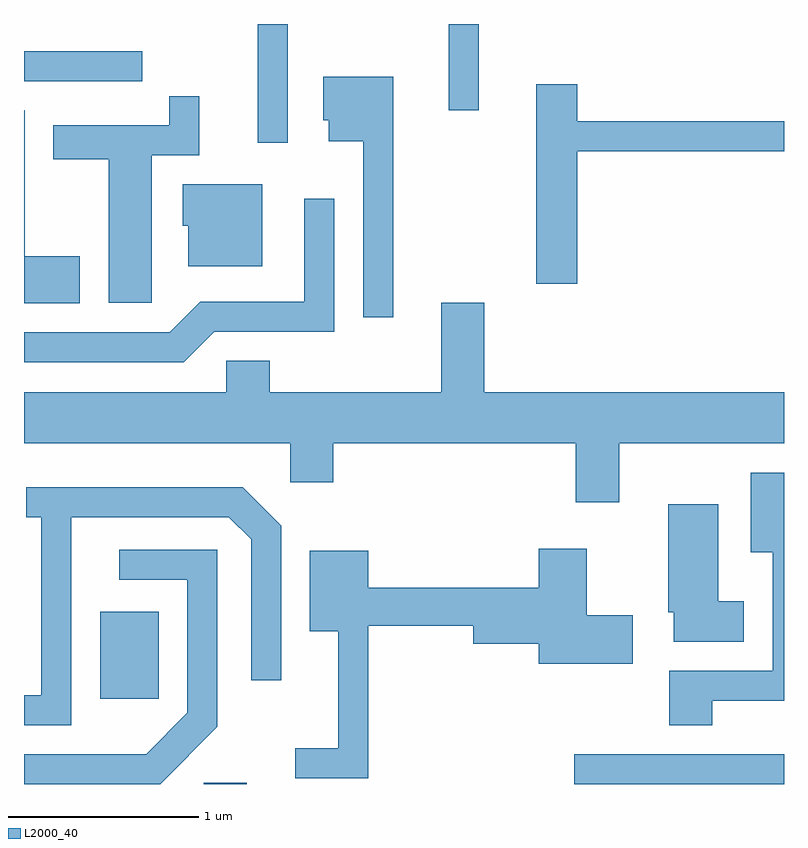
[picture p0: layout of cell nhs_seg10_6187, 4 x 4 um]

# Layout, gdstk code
import gdstk
lib = gdstk.Library(unit=1e-6, precision=1e-09)
def R(c, l, rs):  # rectangles x0, y0, x1, y1
    for r in rs: c.add(gdstk.rectangle(r[:2], r[2:], *l))
def P(c, l, *ps):  # polygons
    for p in ps: c.add(gdstk.Polygon(p, *l))
L2000_40 = (2000, 40)

nhs_seg10_6187 = lib.new_cell('nhs_seg10_6187')
R(nhs_seg10_6187, L2000_40, [(368.556,2156.522,368.784,2156.529), (370.508,2156.522,371.611,2156.679), (368.011,2156.971,368.319,2157.429), (368.841,2159.898,368.999,2160.522), (369.846,2160.068,370.004,2160.522), (367.611,2160.221,368.233,2160.379)])
P(nhs_seg10_6187, L2000_40, [(369.554,2160.244),(369.186,2160.244),(369.186,2160.016),(369.216,2160.016),(369.216,2159.906),(369.396,2159.906),(369.396,2158.978),(369.554,2158.978)],
  [(370.524,2159.851),(371.611,2159.851),(371.611,2160.009),(370.524,2160.009),(370.524,2160.204),(370.306,2160.204),(370.306,2159.156),(370.524,2159.156)],
  [(368.284,2159.831),(368.534,2159.831),(368.534,2160.143),(368.376,2160.143),(368.376,2159.989),(367.766,2159.989),(367.766,2159.811),(368.056,2159.811),(368.056,2159.056),(368.284,2159.056)],
  [(367.904,2159.299),(367.614,2159.299),(367.614,2160.069),(367.611,2160.069),(367.611,2159.051),(367.904,2159.051)],
  [(368.864,2159.679),(368.446,2159.679),(368.446,2159.461),(368.476,2159.461),(368.476,2159.246),(368.864,2159.246)],
  [(368.612,2158.901),(369.244,2158.901),(369.244,2159.603),(369.086,2159.603),(369.086,2159.059),(368.539,2159.059),(368.379,2158.899),(367.611,2158.899),(367.611,2158.741),(368.452,2158.741)],
  [(370.744,2158.316),(371.611,2158.316),(371.611,2158.584),(370.034,2158.584),(370.034,2159.054),(369.806,2159.054),(369.806,2158.584),(368.904,2158.584),(368.904,2158.749),(368.676,2158.749),(368.676,2158.584),(367.611,2158.584),(367.611,2158.316),(369.011,2158.316),(369.011,2158.111),(369.239,2158.111),(369.239,2158.316),(370.516,2158.316),(370.516,2158.006),(370.744,2158.006)],
  [(371.234,2156.961),(371.611,2156.961),(371.611,2158.159),(371.436,2158.159),(371.436,2157.741),(371.551,2157.741),(371.551,2157.119),(371.006,2157.119),(371.006,2156.831),(371.234,2156.831)],
  [(367.859,2157.926),(368.689,2157.926),(368.806,2157.809),(368.806,2157.068),(368.964,2157.068),(368.964,2157.882),(368.762,2158.084),(367.623,2158.084),(367.623,2157.926),(367.701,2157.926),(367.701,2156.989),(367.611,2156.989),(367.611,2156.831),(367.859,2156.831)],
  [(371.399,2157.484),(371.264,2157.484),(371.264,2157.994),(371.001,2157.994),(371.001,2157.426),(371.031,2157.426),(371.031,2157.271),(371.399,2157.271)],
  [(369.424,2157.356),(369.976,2157.356),(369.976,2157.261),(370.321,2157.261),(370.321,2157.156),(370.814,2157.156),(370.814,2157.409),(370.574,2157.409),(370.574,2157.759),(370.321,2157.759),(370.321,2157.554),(369.424,2157.554),(369.424,2157.749),(369.116,2157.749),(369.116,2157.326),(369.266,2157.326),(369.266,2156.709),(369.038,2156.709),(369.038,2156.551),(369.424,2156.551)],
  [(368.629,2156.824),(368.629,2157.754),(368.113,2157.754),(368.113,2157.596),(368.471,2157.596),(368.471,2156.897),(368.254,2156.679),(367.611,2156.679),(367.611,2156.522),(368.328,2156.522)])

lib.write_gds('nhs_seg10_6187.gds')
